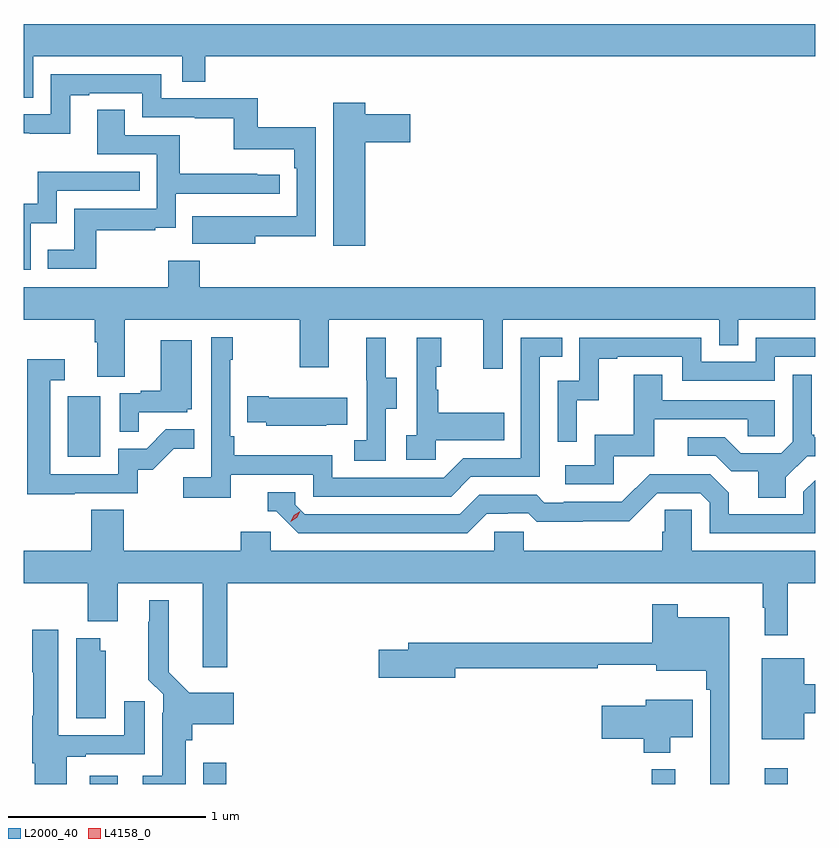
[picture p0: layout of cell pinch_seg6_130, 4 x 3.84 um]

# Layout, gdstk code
import gdstk
lib = gdstk.Library(unit=1e-6, precision=1e-09)
def R(c, l, rs):  # rectangles x0, y0, x1, y1
    for r in rs: c.add(gdstk.rectangle(r[:2], r[2:], *l))
def P(c, l, *ps):  # polygons
    for p in ps: c.add(gdstk.Polygon(p, *l))
L2000_40 = (2000, 40)
L4158_0 = (4158, 0)

pinch_seg6_130 = lib.new_cell('pinch_seg6_130')
R(pinch_seg6_130, L2000_40, [(974.177,929.006,974.317,929.047), (974.751,929.006,974.867,929.113), (977.017,929.006,977.135,929.08), (977.588,929.006,977.705,929.086), (974.066,930.66,974.23,930.967)])
P(pinch_seg6_130, L2000_40, [(973.891,932.684),(974.643,932.684),(974.643,932.557),(974.759,932.557),(974.759,932.684),(977.843,932.684),(977.843,932.848),(973.843,932.848),(973.843,932.476),(973.891,932.476)],
  [(975.013,931.774),(975.318,931.774),(975.318,932.326),(975.025,932.326),(975.025,932.472),(974.538,932.472),(974.538,932.595),(973.98,932.595),(973.98,932.391),(973.843,932.391),(973.843,932.295),(973.872,932.295),(973.872,932.294),(974.077,932.294),(974.077,932.487),(974.173,932.487),(974.173,932.499),(974.442,932.499),(974.442,932.376),(974.707,932.376),(974.707,932.371),(974.904,932.371),(974.904,932.216),(975.209,932.216),(975.209,932.12),(975.222,932.12),(975.222,931.875),(974.909,931.875),(974.909,931.876),(974.695,931.876),(974.695,931.736),(975.013,931.736)],
  [(975.568,932.249),(975.796,932.249),(975.796,932.391),(975.568,932.391),(975.568,932.449),(975.407,932.449),(975.407,931.728),(975.568,931.728)],
  [(974.209,931.806),(974.507,931.806),(974.507,931.817),(974.61,931.817),(974.61,931.989),(975.136,931.989),(975.136,932.085),(975.023,932.085),(975.023,932.09),(974.63,932.09),(974.63,932.286),(974.353,932.286),(974.353,932.414),(974.213,932.414),(974.213,932.19),(974.514,932.19),(974.514,931.914),(974.098,931.914),(974.098,931.708),(973.963,931.708),(973.963,931.611),(974.209,931.611)],
  [(973.878,931.841),(974.01,931.841),(974.01,932.004),(974.429,932.004),(974.429,932.1),(973.914,932.1),(973.914,931.939),(973.843,931.939),(973.843,931.605),(973.878,931.605)],
  [(974.572,931.651),(974.572,931.516),(973.843,931.516),(973.843,931.352),(974.201,931.352),(974.201,931.24),(974.213,931.24),(974.213,931.066),(974.353,931.066),(974.353,931.352),(975.238,931.352),(975.238,931.113),(975.385,931.113),(975.385,931.352),(976.166,931.352),(976.166,931.104),(976.263,931.104),(976.263,931.352),(977.358,931.352),(977.358,931.225),(977.454,931.225),(977.454,931.352),(977.843,931.352),(977.843,931.516),(974.732,931.516),(974.732,931.651)],
  [(974.888,930.57),(975.306,930.57),(975.306,930.459),(976.003,930.459),(976.102,930.558),(976.452,930.558),(976.452,931.167),(976.565,931.167),(976.565,931.263),(976.356,931.263),(976.356,930.654),(976.065,930.654),(975.966,930.555),(975.402,930.555),(975.402,930.667),(974.906,930.667),(974.906,930.763),(974.886,930.763),(974.886,931.151),(974.899,931.151),(974.899,931.264),(974.79,931.264),(974.79,930.556),(974.649,930.556),(974.649,930.454),(974.888,930.454)],
  [(976.638,930.947),(976.748,930.947),(976.748,931.155),(976.843,931.155),(976.843,931.167),(977.172,931.167),(977.172,931.044),(977.64,931.044),(977.64,931.167),(977.843,931.167),(977.843,931.263),(977.544,931.263),(977.544,931.14),(977.268,931.14),(977.268,931.263),(976.65,931.263),(976.65,931.044),(976.542,931.044),(976.542,930.735),(976.638,930.735)],
  [(975.924,930.743),(976.271,930.743),(976.271,930.883),(975.937,930.883),(975.937,930.998),(975.927,930.998),(975.927,931.116),(975.952,931.116),(975.952,931.261),(975.828,931.261),(975.828,930.77),(975.777,930.77),(975.777,930.645),(975.924,930.645)],
  [(975.672,930.904),(975.727,930.904),(975.727,931.059),(975.673,931.059),(975.673,931.261),(975.575,931.261),(975.575,931.047),(975.576,931.047),(975.576,930.743),(975.513,930.743),(975.513,930.64),(975.672,930.64)],
  [(974.423,930.885),(974.67,930.885),(974.67,930.9),(974.692,930.9),(974.692,931.249),(974.534,931.249),(974.534,930.994),(974.435,930.994),(974.435,930.981),(974.328,930.981),(974.328,930.787),(974.423,930.787)],
  [(974.099,930.477),(974.418,930.477),(974.418,930.594),(974.494,930.594),(974.601,930.701),(974.705,930.701),(974.705,930.8),(974.561,930.8),(974.463,930.702),(974.319,930.702),(974.319,930.573),(973.977,930.573),(973.977,931.047),(974.05,931.047),(974.05,931.153),(973.861,931.153),(973.861,930.472),(974.099,930.472)],
  [(977.695,930.556),(977.802,930.663),(977.843,930.663),(977.843,930.76),(977.839,930.76),(977.839,930.772),(977.827,930.772),(977.827,931.075),(977.73,931.075),(977.73,930.735),(977.673,930.678),(977.467,930.678),(977.386,930.759),(977.199,930.759),(977.199,930.666),(977.34,930.666),(977.42,930.586),(977.555,930.586),(977.555,930.454),(977.695,930.454)],
  [(976.824,930.663),(977.029,930.663),(977.029,930.849),(977.503,930.849),(977.503,930.765),(977.64,930.765),(977.64,930.945),(977.071,930.945),(977.071,931.075),(976.927,931.075),(976.927,930.772),(976.728,930.772),(976.728,930.618),(976.581,930.618),(976.581,930.522),(976.824,930.522)],
  [(975.371,930.821),(975.479,930.821),(975.479,930.958),(975.082,930.958),(975.082,930.966),(974.971,930.966),(974.971,930.836),(975.069,930.836),(975.069,930.818),(975.371,930.818)],
  [(976.183,930.372),(976.29,930.372),(976.29,930.375),(976.393,930.375),(976.435,930.333),(976.668,930.333),(976.668,930.335),(976.904,930.335),(977.046,930.477),(977.262,930.477),(977.31,930.429),(977.31,930.273),(977.843,930.273),(977.843,930.542),(977.784,930.483),(977.784,930.369),(977.407,930.369),(977.407,930.479),(977.313,930.573),(977.007,930.573),(976.866,930.432),(976.573,930.432),(976.573,930.429),(976.474,930.429),(976.435,930.468),(976.146,930.468),(976.047,930.369),(975.264,930.369),(975.216,930.417),(975.216,930.48),(975.077,930.48),(975.077,930.384),(975.12,930.384),(975.231,930.273),(976.084,930.273)],
  [(974.87,930.02),(977.577,930.02),(977.577,929.897),(977.588,929.897),(977.588,929.757),(977.705,929.757),(977.705,930.02),(977.843,930.02),(977.843,930.184),(977.22,930.184),(977.22,930.392),(977.083,930.392),(977.083,930.282),(977.069,930.282),(977.069,930.184),(976.371,930.184),(976.371,930.282),(976.221,930.282),(976.221,930.184),(975.09,930.184),(975.09,930.282),(974.939,930.282),(974.939,930.184),(974.348,930.184),(974.348,930.392),(974.183,930.392),(974.183,930.184),(973.843,930.184),(973.843,930.02),(974.165,930.02),(974.165,929.828),(974.317,929.828),(974.317,930.02),(974.747,930.02),(974.747,929.595),(974.87,929.595)],
  [(974.662,929.226),(974.693,929.226),(974.693,929.309),(974.905,929.309),(974.905,929.467),(974.676,929.467),(974.676,929.47),(974.575,929.572),(974.575,929.935),(974.477,929.935),(974.477,929.825),(974.473,929.825),(974.473,929.534),(974.547,929.46),(974.547,929.366),(974.543,929.366),(974.543,929.047),(974.445,929.047),(974.445,929.006),(974.662,929.006)],
  [(977.41,929.848),(977.149,929.848),(977.149,929.914),(977.02,929.914),(977.02,929.719),(975.785,929.719),(975.785,929.685),(975.636,929.685),(975.636,929.543),(976.024,929.543),(976.024,929.59),(976.743,929.59),(976.743,929.609),(977.039,929.609),(977.039,929.579),(977.293,929.579),(977.293,929.483),(977.313,929.483),(977.313,929.006),(977.41,929.006)],
  [(974.059,929.145),(974.155,929.145),(974.155,929.157),(974.455,929.157),(974.455,929.425),(974.351,929.425),(974.351,929.253),(974.017,929.253),(974.017,929.785),(973.886,929.785),(973.886,929.572),(973.891,929.572),(973.891,929.35),(973.886,929.35),(973.886,929.11),(973.898,929.11),(973.898,929.006),(974.059,929.006)],
  [(974.257,929.679),(974.23,929.679),(974.23,929.743),(974.108,929.743),(974.108,929.338),(974.257,929.338)],
  [(977.788,929.363),(977.843,929.363),(977.843,929.51),(977.788,929.51),(977.788,929.641),(977.573,929.641),(977.573,929.231),(977.788,929.231)],
  [(977.11,929.243),(977.224,929.243),(977.224,929.431),(976.988,929.431),(976.988,929.401),(976.764,929.401),(976.764,929.236),(976.976,929.236),(976.976,929.165),(977.11,929.165)])
P(pinch_seg6_130, L4158_0, [(975.191,930.332),(975.191,930.332),(975.208,930.365),(975.239,930.384),(975.239,930.384),(975.239,930.384),(975.223,930.351),(975.192,930.332)])

lib.write_gds('pinch_seg6_130.gds')
